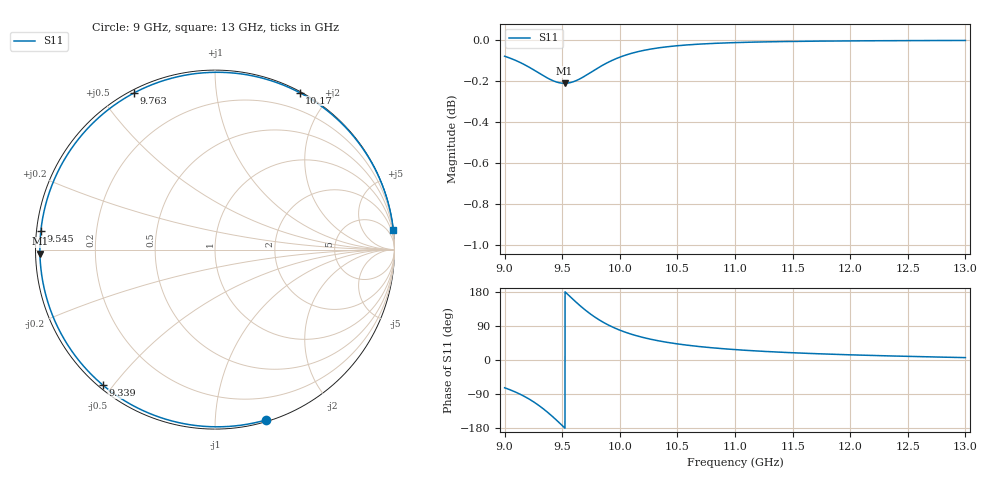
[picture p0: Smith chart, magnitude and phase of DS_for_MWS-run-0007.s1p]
! TOUCHSTONE file generated by CST DESIGN STUDIO
! Date and time: Tue Feb  4 15:47:20 2025
! Project name: C:\Work\MatlabApps\UnitCellOptimizationMatlab\CST\unitcell.cst
! Tree item: Tasks\Sweep1\SPara1\S-Parameters
! Header version: 2024
! Port assignment regex: !\s*Touchstone port\s*([0-9]+)\s*=\s*(CST MWS port|CST DES external port|CST DES block port)\s*(.+)\s* \(\"(.*)\"\)(\s*mode\s*([0-9]+))?.*
! Touchstone port assignment:
! Touchstone port 1 = CST DES external port 1 ("")
# GHz S MA R 50
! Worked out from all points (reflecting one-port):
!   4001 points, 9 GHz to 13 GHz, reference 50 ohm
!   lowest |S11| = -0.2 dB at 9.52 GHz (marker M1), VSWR 81.66, Z = 0.612 - j0.567 ohm
!   phase of S11 starts at -73 deg and turns -280 deg over the sweep
!   S11 on the Smith chart (normalised r, x): 9 GHz: 0.01, -1.35; 9.339 GHz: 0.01, -0.47; 9.545 GHz: 0.01, +0.05; 9.763 GHz: 0.01, +0.61; 10.17 GHz: 0.01, +1.67; 13 GHz: 0, +18
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9  0.9907 -73.3
9.093  0.9885 -84.4
9.198  0.9852 -100.5
9.272  0.9824 -114.6
9.339  0.9799 -129.5
9.383  0.9783 -140.5
9.428  0.977 -152.5
9.465  0.9763 -162.8
9.5  0.9759 -172.9
9.52  0.9758 -178.7
9.545  0.9759 174.0
9.599  0.9767 158.6
9.66  0.9785 142.0
9.711  0.9803 129.3
9.763  0.9824 117.5
9.813  0.9843 107.4
9.867  0.9863 97.7
10  0.9902 78.8
10.083  0.992 69.7
10.173  0.9935 61.7
10.322  0.9952 51.4
10.5  0.9966 42.5
10.722  0.9976 34.5
11  0.9983 27.4
11.5  0.9989 19.1
12  0.9993 13.6
12.5  0.9994 9.6
13  0.9995 6.3
